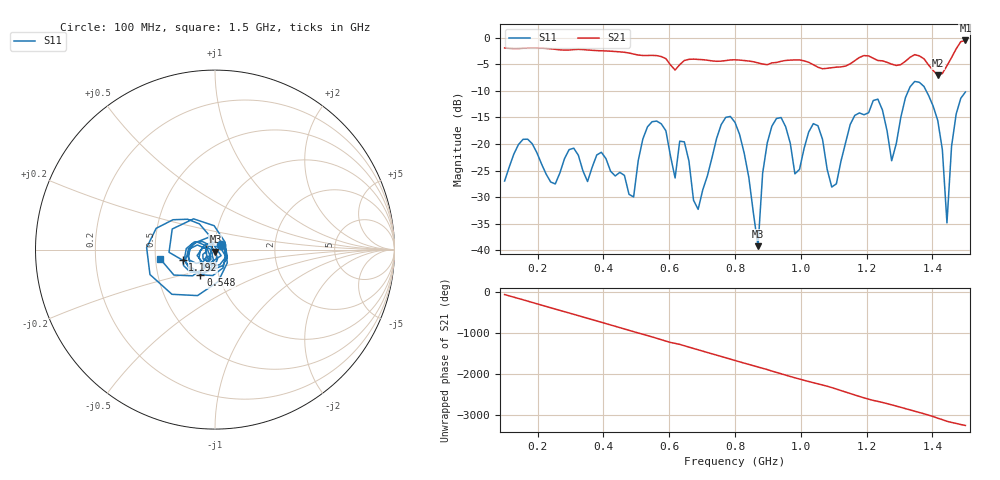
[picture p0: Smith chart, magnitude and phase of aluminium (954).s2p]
! NanoVNA-App
! Date: 2025-09-25 15:02:42
! Start: 100MHz Stop: 1,5GHz Points: 101
! S-Parameter data: F S11 S21 S12 S22
# Hz S RI R 50
!  Frequency  S11_Real  S11_Imag  S21_Real  S21_Imag  S12_Real  S12_Imag  S22_Real  S22_Imag
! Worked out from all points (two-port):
!   101 points, 100 MHz to 1.5 GHz, reference 50 ohm
!   highest |S21| = -0.51 dB at 1.5 GHz (marker M1); lowest = -7.1 dB at 1.416 GHz (marker M2)
!   |S21| within 3 dB of the highest: start of sweep to 573.6 MHz; 1.46 GHz to end of sweep (the widest 2 of 4)
!   lowest |S11| = -39.2 dB at 870 MHz (marker M3), VSWR 1.02, Z = 50.2 - j1.08 ohm
!   |S11| at or under -10 dB: start of sweep to 1.327 GHz; 1.381 GHz to end of sweep
!   S12 and S22 are empty: the file has one direction only
!   S11 on the Smith chart (normalised r, x): 100 MHz: 1.07, +0.06; 548 MHz: 0.82, -0.24; 1.192 GHz: 0.69, -0.08; 1.5 GHz: 0.53, -0.06
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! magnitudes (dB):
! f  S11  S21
! 100 MHz  -27.0  -1.9
! 156 MHz  -19.1  -2.0
! 338 MHz  -25.0  -2.2
! 492 MHz  -29.9  -3.1
! 548 MHz  -15.8  -3.3
! 576 MHz  -16.2  -3.5
! 646 MHz  -19.6  -4.3
! 688 MHz  -32.3  -4.1
! 800 MHz  -15.9  -4.1
! 870 MHz  -39.2  -4.7
! 912 MHz  -16.6  -4.7
! 982 MHz  -25.6  -4.2
! 1.038 GHz  -16.2  -5.1
! 1.094 GHz  -28.1  -5.6
! 1.192 GHz  -14.5  -3.4
! 1.234 GHz  -11.6  -4.3
! 1.276 GHz  -23.1  -5.0
! 1.346 GHz  -8.2  -3.2
! 1.416 GHz  -15.5  -7.1
! 1.444 GHz  -34.8  -5.3
! 1.458 GHz  -20.4  -3.7
! 1.5 GHz  -10.2  -0.5
